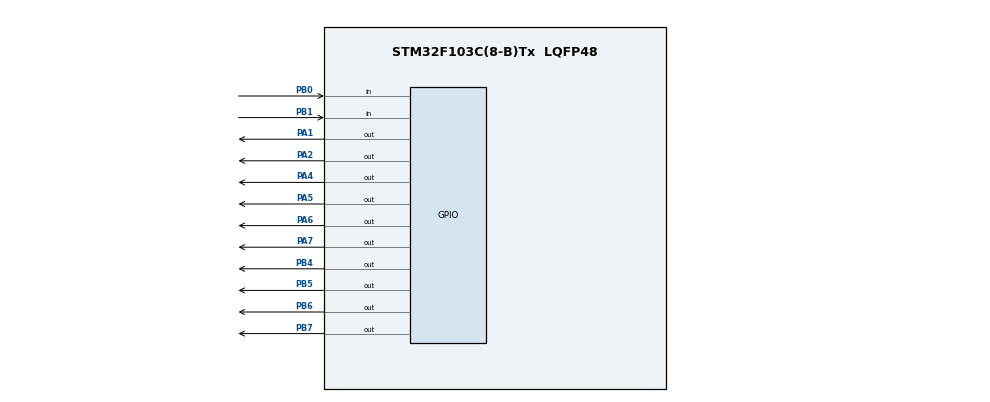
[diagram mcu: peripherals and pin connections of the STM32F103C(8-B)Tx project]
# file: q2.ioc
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Mcu.Family=STM32F1
Mcu.Name=STM32F103C(8-B)Tx
Mcu.Package=LQFP48
NVIC.PriorityGroup=NVIC_PRIORITYGROUP_4
PA1.Signal=GPIO_Output
PA2.Signal=GPIO_Output
PA4.Signal=GPIO_Output
PA5.Signal=GPIO_Output
PA6.Signal=GPIO_Output
PA7.Signal=GPIO_Output
PB0.GPIO_PuPd=GPIO_PULLUP
PB0.Signal=GPIO_Input
PB1.GPIO_PuPd=GPIO_PULLUP
PB1.Signal=GPIO_Input
PB4.Signal=GPIO_Output
PB5.Signal=GPIO_Output
PB6.Signal=GPIO_Output
PB7.Signal=GPIO_Output
ProjectManager.HeapSize=0x200
ProjectManager.StackSize=0x400
ProjectManager.TargetToolchain=STM32CubeIDE
RCC.APB1Freq_Value=8000000
RCC.APB2Freq_Value=8000000
board=custom

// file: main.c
/* USER CODE BEGIN Header */
/**
  ******************************************************************************
  * @file           : main.c
  * @brief          : Solar Tracker Stepper Motor Controller - Manual Mode Only
  ******************************************************************************
  */
/* USER CODE END Header */
#include "main.h"

/* USER CODE BEGIN Includes */
#include <stdio.h>
#include "lcd.h"
/* USER CODE END Includes */

/* USER CODE BEGIN PV */
Lcd_HandleTypeDef lcd;

// Stepper Motor Sequence (Full-Step / Wave Drive)

const uint8_t step_sequence[4][4] = {
  {1, 0, 1, 0}, // Step 1: Coil A  and Coil B  ON
  {0, 1, 1, 0}, // Step 2: Coil A' and Coil B  ON
  {0, 1, 0, 1}, // Step 3: Coil A' and Coil B' ON
  {1, 0, 0, 1}  // Step 4: Coil A  and Coil B' ON
};

int current_step_index = 0; // Tracks which of the 4 sequences we are on
int angle_steps = 0;        // 0 to 100 (Where 1 step = 1.8 degrees)
char lcd_buffer[16];        // Buffer for text formatting
/* USER CODE END PV */

void SystemClock_Config(void);
static void MX_GPIO_Init(void);
/* USER CODE BEGIN PFP */
void step_motor(int direction);
void update_display(void);
/* USER CODE END PFP */

/* USER CODE BEGIN 0 */

// Function to move the stepper motor 1 step (1.8 degrees)
void step_motor(int direction) {
    if (direction == 1) { // Clockwise (West)
        current_step_index++;
        if (current_step_index > 3) current_step_index = 0;
        angle_steps++;
    } else { // Counter-Clockwise (East)
        current_step_index--;
        if (current_step_index < 0) current_step_index = 3;
        angle_steps--;
    }

    // Send the sequence to PB4, PB5, PB6, PB7
    HAL_GPIO_WritePin(GPIOB, GPIO_PIN_4, step_sequence[current_step_index][0]);
    HAL_GPIO_WritePin(GPIOB, GPIO_PIN_5, step_sequence[current_step_index][1]);
    HAL_GPIO_WritePin(GPIOB, GPIO_PIN_6, step_sequence[current_step_index][2]);
    HAL_GPIO_WritePin(GPIOB, GPIO_PIN_7, step_sequence[current_step_index][3]);

    // Give the physical motor time to execute the step
    HAL_Delay(20);
}

// Function to update the LCD Screen
void update_display(void) {
    // Math trick: Instead of floats, multiply by 18 and divide by 10
    // Example: 1 step * 18 = 18. (18/10 = 1), (18%10 = 8) -> Prints "1.8"
    int whole_deg = (angle_steps * 18) / 10;
    int decimal_deg = (angle_steps * 18) % 10;

    sprintf(lcd_buffer, "Angle: %3d.%d  ", whole_deg, decimal_deg);
    Lcd_cursor(&lcd, 0, 0);
    Lcd_string(&lcd, lcd_buffer);

    Lcd_cursor(&lcd, 1, 0);
    Lcd_string(&lcd, "Mode: MANUAL    ");
}
/* USER CODE END 0 */

int main(void)
{
  /* MCU Configuration--------------------------------------------------------*/
  HAL_Init();
  SystemClock_Config();
  MX_GPIO_Init();

  /* USER CODE BEGIN 2 */

  // 1. Configure LCD Pins (D4=PA4, D5=PA5, D6=PA6, D7=PA7)
  Lcd_PortType ports[] = {GPIOA, GPIOA, GPIOA, GPIOA};
  Lcd_PinType pins[] = {GPIO_PIN_4, GPIO_PIN_5, GPIO_PIN_6, GPIO_PIN_7};

  // 2. Initialize LCD (RS=PA1, EN=PA2, 4-bit mode)
  lcd = Lcd_create(ports, pins, GPIOA, GPIO_PIN_1, GPIOA, GPIO_PIN_2, LCD_4_BIT_MODE);
  Lcd_clear(&lcd);

  // Print Initial Screen
  update_display();

  /* USER CODE END 2 */

  /* Infinite loop */
  while (1)
  {

    /* USER CODE BEGIN 3 */

    // ==========================================
    //            MANUAL MODE (Part B)
    // ==========================================

    // 1. Check CW Button (PB0)
    if (HAL_GPIO_ReadPin(GPIOB, GPIO_PIN_0) == GPIO_PIN_RESET) {
        HAL_Delay(30); // Debounce
        if (angle_steps < 100) { // Limit to 180 deg
            step_motor(1);
            update_display();
        }
        while(HAL_GPIO_ReadPin(GPIOB, GPIO_PIN_0) == GPIO_PIN_RESET); // Wait for release
        HAL_Delay(30);
    }

    // 2. Check CCW Button (PB1)
    if (HAL_GPIO_ReadPin(GPIOB, GPIO_PIN_1) == GPIO_PIN_RESET) {
        HAL_Delay(30); // Debounce
        if (angle_steps > 0) { // Limit to 0 deg
            step_motor(-1);
            update_display();
        }
        while(HAL_GPIO_ReadPin(GPIOB, GPIO_PIN_1) == GPIO_PIN_RESET); // Wait for release
        HAL_Delay(30);
    }
  }
  /* USER CODE END 3 */
}

void SystemClock_Config(void)
{
  RCC_OscInitTypeDef RCC_OscInitStruct = {0};
  RCC_ClkInitTypeDef RCC_ClkInitStruct = {0};

  RCC_OscInitStruct.OscillatorType = RCC_OSCILLATORTYPE_HSI;
  RCC_OscInitStruct.HSIState = RCC_HSI_ON;
  RCC_OscInitStruct.HSICalibrationValue = RCC_HSICALIBRATION_DEFAULT;
  RCC_OscInitStruct.PLL.PLLState = RCC_PLL_NONE;
  if (HAL_RCC_OscConfig(&RCC_OscInitStruct) != HAL_OK)
  {
    Error_Handler();
  }

  RCC_ClkInitStruct.ClockType = RCC_CLOCKTYPE_HCLK|RCC_CLOCKTYPE_SYSCLK
                              |RCC_CLOCKTYPE_PCLK1|RCC_CLOCKTYPE_PCLK2;
  RCC_ClkInitStruct.SYSCLKSource = RCC_SYSCLKSOURCE_HSI;
  RCC_ClkInitStruct.AHBCLKDivider = RCC_SYSCLK_DIV1;
  RCC_ClkInitStruct.APB1CLKDivider = RCC_HCLK_DIV1;
  RCC_ClkInitStruct.APB2CLKDivider = RCC_HCLK_DIV1;

  if (HAL_RCC_ClockConfig(&RCC_ClkInitStruct, FLASH_LATENCY_0) != HAL_OK)
  {
    Error_Handler();
  }
}

static void MX_GPIO_Init(void)
{
  GPIO_InitTypeDef GPIO_InitStruct = {0};

  /* GPIO Ports Clock Enable */
  __HAL_RCC_GPIOA_CLK_ENABLE();
  __HAL_RCC_GPIOB_CLK_ENABLE();
  __HAL_RCC_AFIO_CLK_ENABLE();

  // CRITICAL: Free PB3 and PB4 from JTAG Debugger so they work as normal pins
  __HAL_AFIO_REMAP_SWJ_NOJTAG();

  /*Configure GPIO pin Output Level */
  HAL_GPIO_WritePin(GPIOA, GPIO_PIN_1|GPIO_PIN_2|GPIO_PIN_4|GPIO_PIN_5|GPIO_PIN_6|GPIO_PIN_7, GPIO_PIN_RESET);
  HAL_GPIO_WritePin(GPIOB, GPIO_PIN_4|GPIO_PIN_5|GPIO_PIN_6|GPIO_PIN_7, GPIO_PIN_RESET);

  /*Configure GPIO pins : PA1 PA2 PA4 PA5 PA6 PA7 */
  GPIO_InitStruct.Pin = GPIO_PIN_1|GPIO_PIN_2|GPIO_PIN_4|GPIO_PIN_5|GPIO_PIN_6|GPIO_PIN_7;
  GPIO_InitStruct.Mode = GPIO_MODE_OUTPUT_PP;
  GPIO_InitStruct.Pull = GPIO_NOPULL;
  GPIO_InitStruct.Speed = GPIO_SPEED_FREQ_LOW;
  HAL_GPIO_Init(GPIOA, &GPIO_InitStruct);

  /*Configure GPIO pins : PB0 PB1 (Only the 2 Manual Buttons) */
  GPIO_InitStruct.Pin = GPIO_PIN_0|GPIO_PIN_1;
  GPIO_InitStruct.Mode = GPIO_MODE_INPUT;
  GPIO_InitStruct.Pull = GPIO_PULLUP;
  HAL_GPIO_Init(GPIOB, &GPIO_InitStruct);

  /*Configure GPIO pins : PB4 PB5 PB6 PB7 (Stepper Driver Outputs) */
  GPIO_InitStruct.Pin = GPIO_PIN_4|GPIO_PIN_5|GPIO_PIN_6|GPIO_PIN_7;
  GPIO_InitStruct.Mode = GPIO_MODE_OUTPUT_PP;
  GPIO_InitStruct.Pull = GPIO_NOPULL;
  GPIO_InitStruct.Speed = GPIO_SPEED_FREQ_LOW;
  HAL_GPIO_Init(GPIOB, &GPIO_InitStruct);
}

void Error_Handler(void)
{
  __disable_irq();
  while (1)
  {
  }
}
